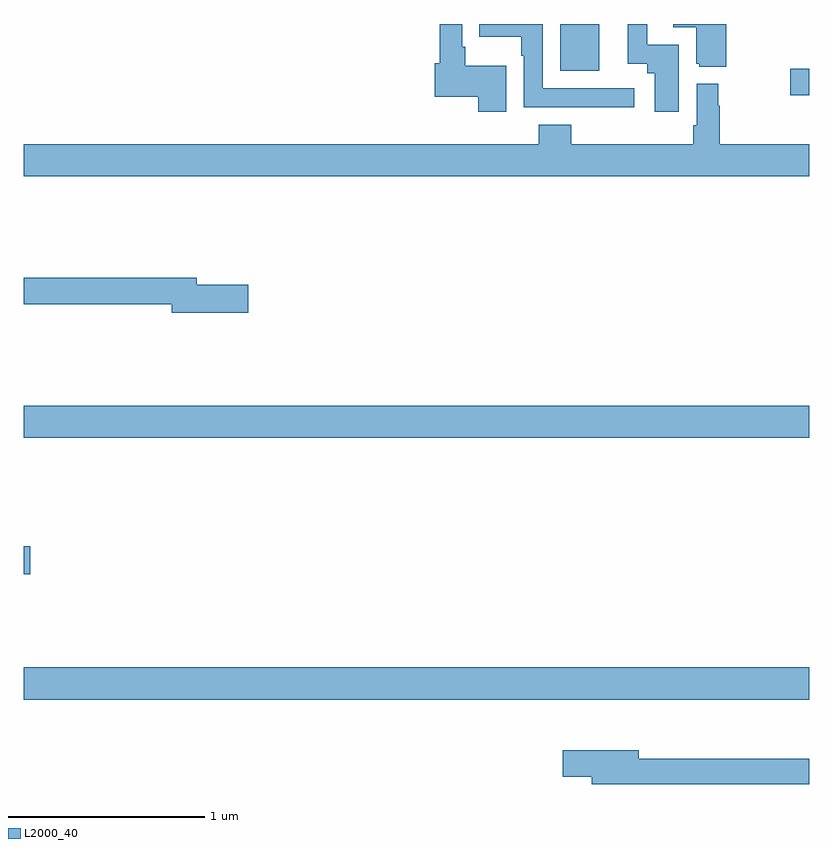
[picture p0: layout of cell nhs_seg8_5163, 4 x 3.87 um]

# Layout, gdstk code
import gdstk
lib = gdstk.Library(unit=1e-6, precision=1e-09)
def R(c, l, rs):  # rectangles x0, y0, x1, y1
    for r in rs: c.add(gdstk.rectangle(r[:2], r[2:], *l))
def P(c, l, *ps):  # polygons
    for p in ps: c.add(gdstk.Polygon(p, *l))
L2000_40 = (2000, 40)

nhs_seg8_5163 = lib.new_cell('nhs_seg8_5163')
R(nhs_seg8_5163, L2000_40, [(421,1156.46,425,1156.624), (421,1157.098,421.033,1157.24), (421,1157.792,425,1157.956), (424.902,1159.538,425,1159.673), (423.731,1159.661,423.931,1159.9)])
P(nhs_seg8_5163, L2000_40, [(424.108,1159.572),(423.642,1159.572),(423.642,1159.9),(423.319,1159.9),(423.319,1159.835),(423.534,1159.835),(423.534,1159.739),(423.546,1159.739),(423.546,1159.476),(423.871,1159.476),(423.871,1159.475),(424.108,1159.475)],
  [(424.577,1159.9),(424.307,1159.9),(424.307,1159.883),(424.424,1159.883),(424.424,1159.698),(424.44,1159.698),(424.44,1159.682),(424.577,1159.682)],
  [(423.457,1159.687),(423.247,1159.687),(423.247,1159.783),(423.234,1159.783),(423.234,1159.9),(423.118,1159.9),(423.118,1159.7),(423.092,1159.7),(423.092,1159.529),(423.314,1159.529),(423.314,1159.452),(423.457,1159.452)],
  [(424.336,1159.794),(424.174,1159.794),(424.174,1159.9),(424.076,1159.9),(424.076,1159.698),(424.175,1159.698),(424.175,1159.648),(424.214,1159.648),(424.214,1159.452),(424.336,1159.452)],
  [(425,1159.288),(424.544,1159.288),(424.544,1159.484),(424.537,1159.484),(424.537,1159.597),(424.428,1159.597),(424.428,1159.384),(424.408,1159.384),(424.408,1159.288),(423.788,1159.288),(423.788,1159.387),(423.623,1159.387),(423.623,1159.288),(421,1159.288),(421,1159.124),(425,1159.124)],
  [(422.143,1158.572),(421.882,1158.572),(421.882,1158.608),(421,1158.608),(421,1158.472),(421.754,1158.472),(421.754,1158.43),(422.143,1158.43)],
  [(425,1156.159),(424.132,1156.159),(424.132,1156.201),(423.744,1156.201),(423.744,1156.067),(423.893,1156.067),(423.893,1156.03),(425,1156.03)])

lib.write_gds('nhs_seg8_5163.gds')
